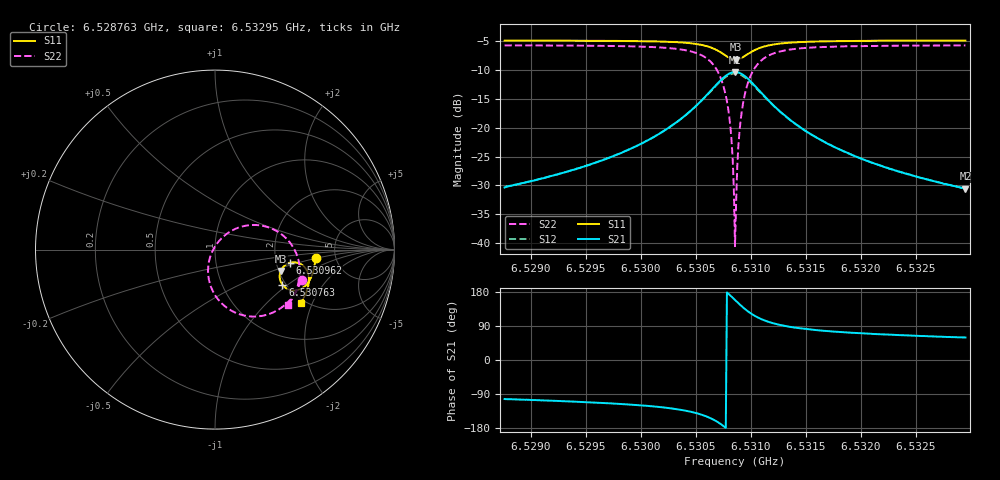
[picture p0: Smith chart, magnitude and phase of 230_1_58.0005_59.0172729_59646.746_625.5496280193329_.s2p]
#  HZ  S  RI  R  50.00
! Rohde & Schwarz Vector Network Analyzer
! Rohde-Schwarz,ZNB20-2Port,1311601062101988,3.16
! Created: UTC 3/21/2024, 1:00:37 AM
! freq[Hz]  re:S11  im:S11  re:S21  im:S21  re:S12  im:S12  re:S22  im:S22
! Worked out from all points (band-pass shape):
!   401 points, 6.528763 GHz to 6.53295 GHz, reference 50 ohm
!   highest |S21| = -10.41 dB at 6.530857 GHz (marker M1); lowest = -30.6 dB at 6.53295 GHz (marker M2)
!   |S21| within 3 dB of the highest: 6.530648 GHz to 6.531067 GHz (418.9 kHz wide, 0.00641 % of centre)
!   lowest |S11| = -8.3 dB at 6.530867 GHz (marker M3), VSWR 2.25, Z = 102 - j28.7 ohm
!   |S11| at or under -10 dB: nowhere
!   |S22| runs from -40.5 to -5.8 dB; largest |S21 - S12| = 0.012
!   S11 on the Smith chart (normalised r, x): 6.528763 GHz: 3.49, -0.49; 6.530763 GHz: 1.92, -0.91; 6.530962 GHz: 2.38, -0.43; 6.53295 GHz: 1.89, -1.66
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6.5287634e9  0.5603 -0.0482  -0.00677 -0.0296  -0.00756 -0.0297  0.4828 -0.1702
6.5294647e9  0.5511 -0.1066  -0.0161 -0.0424  -0.0171 -0.0422  0.4518 -0.2339
6.530166e9  0.5242 -0.1763  -0.0493 -0.0729  -0.0512 -0.0717  0.3709 -0.3231
6.5304068e9  0.4978 -0.2068  -0.0882 -0.0922  -0.0909 -0.0892  0.2912 -0.3624
6.5305847e9  0.4548 -0.2266  -0.1551 -0.0987  -0.1576 -0.0925  0.1673 -0.3684
6.5306894e9  0.4106 -0.2221  -0.2238 -0.0728  -0.2231 -0.0635  0.052 -0.313
6.5307627e9  0.376 -0.1956  -0.2743 -0.0155  -0.2687 -0.0056  -0.0228 -0.207
6.5308046e9  0.3627 -0.1683  -0.29 0.0366  -0.2813 0.0447  -0.0389 -0.1181
6.5308255e9  0.3602 -0.1523  -0.2905 0.0661  -0.2807 0.0726  -0.0343 -0.0696
6.530836e9  0.3604 -0.1439  -0.2886 0.0812  -0.2785 0.0868  -0.0283 -0.0451
6.5308464e9  0.3613 -0.1356  -0.2852 0.0961  -0.2748 0.1008  -0.0199 -0.0216
6.5308569e9  0.3634 -0.1273  -0.2806 0.1108  -0.2697 0.1144  -0.00938 0.00128
6.5308674e9  0.3661 -0.1193  -0.2741 0.1248  -0.2634 0.1276  0.00365 0.023
6.5308778e9  0.3697 -0.1116  -0.2664 0.1382  -0.2559 0.1398  0.0186 0.0433
6.5308883e9  0.374 -0.1045  -0.2579 0.1505  -0.2473 0.1513  0.0352 0.0619
6.5309092e9  0.3845 -0.0921  -0.2371 0.1718  -0.2276 0.1712  0.0727 0.0931
6.5309616e9  0.4169 -0.0736  -0.178 0.2036  -0.1712 0.2005  0.1759 0.1341
6.5310349e9  0.4592 -0.0733  -0.1038 0.2057  -0.1003 0.2028  0.3001 0.1231
6.5311395e9  0.4964 -0.095  -0.0401 0.1754  -0.0383 0.1738  0.4028 0.0564
6.5315582e9  0.5231 -0.174  0.015 0.085  0.0162 0.0846  0.4725 -0.1332
6.5322596e9  0.5052 -0.2458  0.0173 0.0405  0.0181 0.0405  0.4431 -0.2482
6.5329505e9  0.4793 -0.2977  0.0151 0.0255  0.0158 0.0252  0.4082 -0.3082
